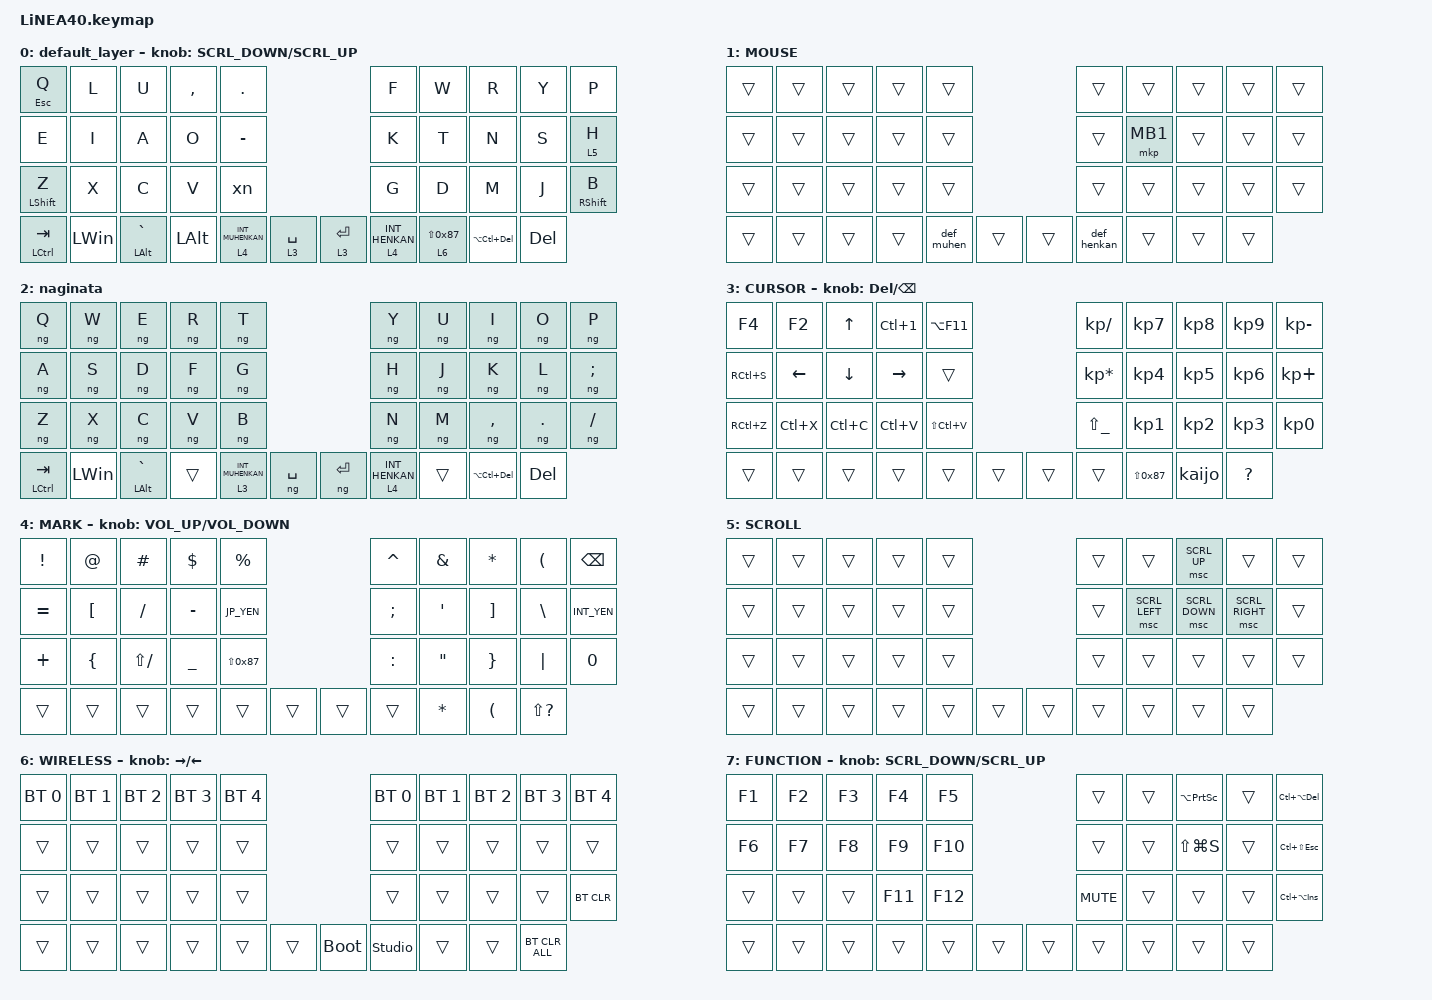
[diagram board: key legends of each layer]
#define ZMK_POINTING_DEFAULT_SCRL_VAL 150

#include <behaviors/naginata.dtsi>
#include <dt-bindings/zmk/input_transform.h>
#include <input/processors.dtsi>
#include <zephyr/dt-bindings/input/input-event-codes.h>
#include <behaviors.dtsi>
#include <dt-bindings/zmk/bt.h>
#include <dt-bindings/zmk/keys.h>
#include <dt-bindings/zmk/pointing.h>

#define MOUSE 1
#define MARK 2
#define CURSOR 3
#define FUNCTION 4
#define SCROLL 5
#define WIRELESS 6

// OS設定を日本語キーボードのまま使用するための変換定義

#define JP_DQUOTE       AT                // "
#define JP_AMPERSAND    CARET             // &
#define JP_QUOTE        AMPERSAND         // '
#define JP_EQUAL        UNDER             // =
#define JP_CARET        EQUAL             // ^
#define JP_YEN          0x89              // ¥
#define JP_PLUS         COLON             // +
#define JP_TILDE        PLUS              // ~
#define JP_PIPE         LS(0x89)          // |
#define JP_AT           LEFT_BRACKET      // @
#define JP_COLON        SINGLE_QUOTE      // :
#define JP_ASTERISK     DOUBLE_QUOTES     // *
#define JP_BACKQUOTE    LEFT_BRACE        // `
#define JP_UNDERSCORE   LS(0x87)          // _
#define JP_LBRACKET     RIGHT_BRACKET     // [
#define JP_RBRACKET     BACKSLASH         // ]
#define JP_LPAREN       ASTERISK          // (
#define JP_RPAREN       LEFT_PARENTHESIS  // )
#define JP_LBRACE       RIGHT_BRACE       // {
#define JP_RBRACE       PIPE              // }
#define JP_KANA         LANGUAGE_1        // かな
#define JP_EISU         LANGUAGE_2        // 英数
#define JP_HANZEN       GRAVE             // 半角/全角

//mouse cursol

&mmv {
    delay-ms = <20>;
    trigger-period-ms = <5>;
    time-to-max-speed-ms = <100>;
    acceleration-exponent = <2>;
};

//mouse scroll

&msc {
    delay-ms = <3>;
    trigger-period-ms = <3>;
    time-to-max-speed-ms = <100>;
    acceleration-exponent = <0>;
};

&msc_input_listener {
    speed_up {
        layers = <FUNCTION>;
        input-processors = <&zip_wheel_scaler 3 1>; //スクロールを3倍速にする
    };
};

&trackball_listener {
    scroller {
        layers = <SCROLL>;
        input-processors =
            <&zip_xy_transform INPUT_TRANSFORM_Y_INVERT>,
            //スクロール方向を逆転,,,,,,,,,,,,,,,,,,,,,,,,,,,,,,,,,,,,,,,,,,,,,,,,,,,,,,,,,,,,,,,,,,,,
            <&zip_xy_to_scroll_mapper>;
    };
};

/* ==========================================================================
   全てのカスタム定義（macros, behaviors, combos, keymap）を1つのルートノードにまとめます
   ========================================================================== */

/ {
    input_processors {
        zip_wheel_scaler: zip_wheel_scaler {
            compatible = "zmk,input-processor-scaler";
            #input-processor-cells = <2>;
            type = <INPUT_EV_REL>;
            codes = <INPUT_REL_WHEEL>;
            track-remainders;
        };
    };

    macros {
        ng_on: ng_on {
            compatible = "zmk,behavior-macro";
            #binding-cells = <0>;
            bindings = <&macro_tap>, <&kp LANGUAGE_1 &kp INTERNATIONAL_4 &to 2>;
        };

        ng_off: ng_off {
            compatible = "zmk,behavior-macro";
            #binding-cells = <0>;
            bindings = <&macro_tap>, <&kp LANGUAGE_2 &kp INTERNATIONAL_5 &to 0>;
        };

        xn: xn {
            compatible = "zmk,behavior-macro";
            #binding-cells = <0>;
            bindings = <&kp X &kp N>;
            label = "XN";
        };

        UpFolder: UpFolder {
            compatible = "zmk,behavior-macro";
            #binding-cells = <0>;
            bindings = <&kp LA(UP)>;
            label = "UPFOLDER";
        };

        Kakkotoji: Kakkotoji {
            compatible = "zmk,behavior-macro";
            #binding-cells = <0>;
            bindings = <&kp INT_MUHENKAN &kp JP_LPAREN &kp JP_RPAREN &kp LEFT>;
            label = "KAKKOTOJI";
        };

        kaijo: kaijo {
            compatible = "zmk,behavior-macro";
            #binding-cells = <0>;
            bindings = <&none &kp LS(N) &kp E &kp W &kp W &kp E &kp S &kp T &kp N1 &kp N0 &kp N0 &kp N8 &kp ENTER>;
            label = "kaijo";
        };

        def_muhen: def_muhen {
            compatible = "zmk,behavior-macro";
            #binding-cells = <0>;
            bindings = <&to 0 &kp INT_MUHENKAN>;
            label = "DEF_MUHEN";
        };

        def_henkan: def_henkan {
            compatible = "zmk,behavior-macro";
            #binding-cells = <0>;
            bindings = <&to 0 &kp INT_HENKAN>;
            label = "DEF_HENKAN";
        };

        exit_AML: exit_AML {
            compatible = "zmk,behavior-macro";
            wait-ms = <0>;
            tap-ms = <0>;
            #binding-cells = <0>;
            bindings = <&tog_off 1>;
            label = "exit_AML";
        };

        kp_exit_AML: kp_exit_AML {
            compatible = "zmk,behavior-macro-one-param";
            wait-ms = <0>;
            tap-ms = <0>;
            #binding-cells = <1>;
            bindings = <&macro_param_1to1 &kp MACRO_PLACEHOLDER &exit_AML>;
            label = "KP_exit_AML";
        };
    };

    behaviors {
        re_kp: sensor_rotate_kp {
            compatible = "zmk,behavior-sensor-rotate-var";
            #sensor-binding-cells = <2>;
            bindings = <&kp>, <&kp>;
        };

        mouse_scrl: mouse_wheel_scrl {
            compatible = "zmk,behavior-sensor-rotate-var";
            #sensor-binding-cells = <2>;
            bindings = <&msc>, <&msc>;

            tap-ms = <20>;
        };

        b_shift: b_shift {
            compatible = "zmk,behavior-hold-tap";
            label = "B_SHIFT";
            bindings = <&kp>, <&kp>;

            #binding-cells = <2>;
            tapping-term-ms = <250>;
            flavor = "tap-preferred";
        };

        tog_off: toggle_layer_off {
            compatible = "zmk,behavior-toggle-layer";
            #binding-cells = <1>;
            display-name = "Toggle Layer Off";
            toggle-mode = "off";
        };

        mt_exit_AML_on_tap: mt_exit_AML_on_tap {
            compatible = "zmk,behavior-hold-tap";
            label = "MT_exit_AML_ON_TAP";
            bindings = <&kp>, <&kp_exit_AML>;

            #binding-cells = <2>;
            tapping-term-ms = <200>;
            flavor = "balanced";
            quick-tap-ms = <200>;
        };
    };

    combos {
        compatible = "zmk,combos";

        UpFolder {
            bindings = <&UpFolder>;
            key-positions = <11 12>;
        };

        kakkotoji {
            bindings = <&Kakkotoji>;
            key-positions = <7 8>;
        };

        xn {
            bindings = <&xn>;
            key-positions = <18 17>;
        };

        leftcl {
            bindings = <&mkp MB1>;
            key-positions = <16 17>;
        };

        kesu {
            bindings = <&kp BACKSPACE>;
            key-positions = <8 9>;
        };

        nigasudesuyo {
            bindings = <&kp ESCAPE>;
            key-positions = <0 1>;
        };

        tabu {
            bindings = <&kp TAB>;
            key-positions = <12 13>;
        };

        migiclickdesu {
            bindings = <&mkp MB2>;
            key-positions = <16 18>;
        };

        mannata {
            bindings = <&mkp MB3>;
            key-positions = <16 18 17>;
        };

        modoru {
            bindings = <&mkp MB4>;
            key-positions = <5 6>;
        };

        nagitog {
            bindings = <&tog 2>;
            key-positions = <9 0>;
        };

        //naginata {
        //  bindings = <&tog 2>;
        //  key-positions = <0 9>;
        //};
    };

    keymap {
        compatible = "zmk,keymap";

        default_layer {
            bindings = <
&mt ESCAPE Q           &kp L         &kp U               &kp COMMA     &kp DOT                                         &kp F             &kp W  &kp R                &kp Y            &kp P
&kp E                  &kp I         &kp A               &kp O         &kp MINUS                                       &kp K             &kp T  &kp N                &kp S            &lt 5 H
&b_shift LEFT_SHIFT Z  &kp X         &kp C               &kp V         &xn                                             &kp G             &kp D  &kp M                &kp J            &b_shift RIGHT_SHIFT B
&mt LCTRL TAB          &kp LEFT_WIN  &mt LEFT_ALT GRAVE  &kp LEFT_ALT  &lt 4 INT_MUHENKAN  &lt 3 SPACE    &lt 3 ENTER  &lt 4 INT_HENKAN         &lt 6 JP_UNDERSCORE  &kp LA(LC(DEL))  &kp DEL
            >;

            sensor-bindings = <&mouse_scrl SCRL_DOWN SCRL_UP>;
        };

        MOUSE {
            bindings = <
&trans  &trans  &trans  &trans  &trans                        &trans       &trans    &trans  &trans  &trans
&trans  &trans  &trans  &trans  &trans                        &trans       &mkp MB1  &trans  &trans  &trans
&trans  &trans  &trans  &trans  &trans                        &trans       &trans    &trans  &trans  &trans
&trans  &trans  &trans  &trans  &def_muhen  &trans    &trans  &def_henkan            &trans  &trans  &trans
            >;
        };

        naginata {
            bindings = <
&ng Q          &ng W         &ng E               &ng R   &ng T                                       &ng Y             &ng U  &ng I      &ng O             &ng P
&ng A          &ng S         &ng D               &ng F   &ng G                                       &ng H             &ng J  &ng K      &ng L             &ng SEMI
&ng Z          &ng X         &ng C               &ng V   &ng B                                       &ng N             &ng M  &ng COMMA  &ng DOT           &ng SLASH
&mt LCTRL TAB  &kp LEFT_WIN  &mt LEFT_ALT GRAVE  &trans  &lt 3 INT_MUHENKAN  &ng SPACE    &ng ENTER  &lt 4 INT_HENKAN         &trans     &kp LA(LC(DEL))   &kp DEL
            >;
        };

        CURSOR {
            bindings = <
&kp F4     &kp F2          &kp UP_ARROW  &kp LC(NUMBER_1)  &kp LA(F11)                      &kp KP_SLASH        &kp KP_NUMBER_7  &kp KP_NUMBER_8    &kp KP_NUMBER_9  &kp KP_MINUS
&kp RC(S)  &kp LEFT_ARROW  &kp DOWN      &kp RIGHT_ARROW   &trans                           &kp KP_MULTIPLY     &kp KP_NUMBER_4  &kp KP_NUMBER_5    &kp KP_NUMBER_6  &kp KP_PLUS
&kp RC(Z)  &kp LC(X)       &kp LC(C)     &kp LC(V)         &kp LS(LC(V))                    &kp LS(UNDERSCORE)  &kp KP_NUMBER_1  &kp KP_NUMBER_2    &kp KP_NUMBER_3  &kp KP_NUMBER_0
&trans     &trans          &trans        &trans            &trans         &trans    &trans  &trans                               &kp JP_UNDERSCORE  &kaijo           &kp QUESTION
            >;

            sensor-bindings = <&inc_dec_kp DELETE BACKSPACE>;
        };

        MARK {
            bindings = <
&kp EXCLAMATION  &kp JP_DQUOTE     &kp HASH       &kp DOLLAR    &kp PERCENT                          &kp CARET      &kp JP_QUOTE     &kp JP_LPAREN    &kp JP_RPAREN         &kp BACKSPACE
&kp JP_CARET     &kp JP_AT         &kp SLASH      &kp MINUS     &kp JP_YEN                           &kp SEMICOLON  &kp JP_COLON     &kp JP_LBRACKET  &kp JP_RBRACKET       &kp INT_YEN
&kp JP_TILDE     &kp JP_BACKQUOTE  &kp LS(SLASH)  &kp JP_EQUAL  &kp JP_UNDERSCORE                    &kp JP_PLUS    &kp JP_ASTERISK  &kp JP_LBRACE    &kp JP_RBRACE         &kp N0
&trans           &trans            &trans         &trans        &trans             &trans    &trans  &trans                          &kp ASTERISK     &kp LEFT_PARENTHESIS  &kp LS(QUESTION)
            >;

            sensor-bindings = <&re_kp C_VOLUME_UP C_VOLUME_DOWN>;
        };

        SCROLL {
            bindings = <
&trans  &trans  &trans  &trans  &trans                    &trans  &trans          &msc SCRL_UP    &trans           &trans
&trans  &trans  &trans  &trans  &trans                    &trans  &msc SCRL_LEFT  &msc SCRL_DOWN  &msc SCRL_RIGHT  &trans
&trans  &trans  &trans  &trans  &trans                    &trans  &trans          &trans          &trans           &trans
&trans  &trans  &trans  &trans  &trans  &trans    &trans  &trans                  &trans          &trans           &trans
            >;
        };

        WIRELESS {
            bindings = <
&bt BT_SEL 0  &bt BT_SEL 1  &bt BT_SEL 2  &bt BT_SEL 3  &bt BT_SEL 4                         &bt BT_SEL 0    &bt BT_SEL 1  &bt BT_SEL 2  &bt BT_SEL 3  &bt BT_SEL 4
&trans        &trans        &trans        &trans        &trans                               &trans          &trans        &trans        &trans        &trans
&trans        &trans        &trans        &trans        &trans                               &trans          &trans        &trans        &trans        &bt BT_CLR
&trans        &trans        &trans        &trans        &trans        &trans    &bootloader  &studio_unlock                &trans        &trans        &bt BT_CLR_ALL
            >;

            sensor-bindings = <&inc_dec_kp RIGHT_ARROW LEFT_ARROW>;
        };

        FUNCTION {
            bindings = <
&kp F1  &kp F2  &kp F3  &kp F4   &kp F5                     &trans      &trans  &kp LA(PRINTSCREEN)  &trans  &kp LC(LA(DELETE))
&kp F6  &kp F7  &kp F8  &kp F9   &kp F10                    &trans      &trans  &kp LS(LG(S))        &trans  &kp LC(LS(ESCAPE))
&trans  &trans  &trans  &kp F11  &kp F12                    &kp C_MUTE  &trans  &trans               &trans  &kp LC(LA(INS))
&trans  &trans  &trans  &trans   &trans   &trans    &trans  &trans              &trans               &trans  &trans
            >;

            sensor-bindings = <&mouse_scrl SCRL_DOWN SCRL_UP>;
        };
    };
}; // ルートノードの閉じ
